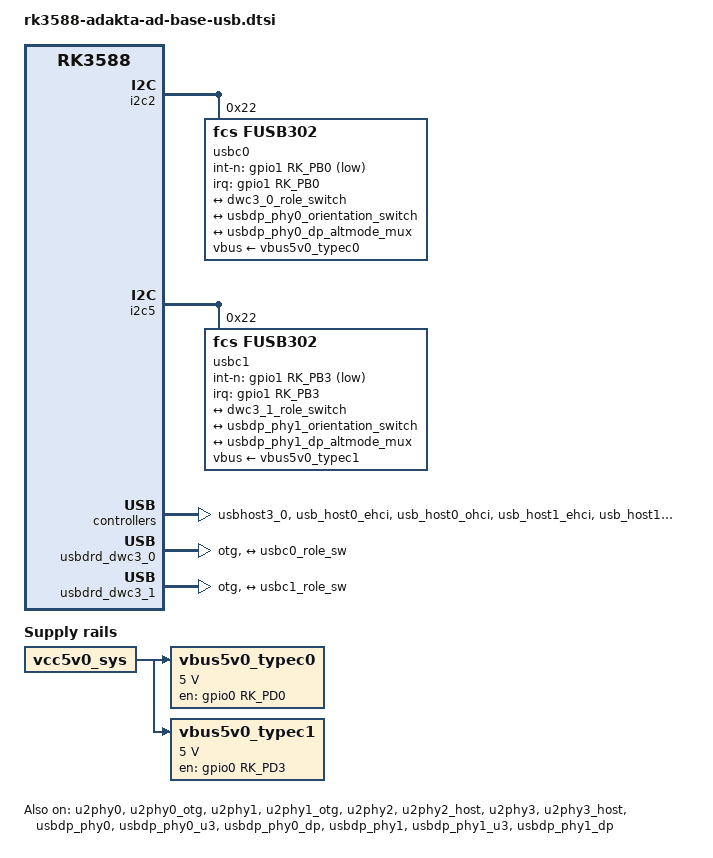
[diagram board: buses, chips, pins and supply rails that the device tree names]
// SPDX-License-Identifier: (GPL-2.0+ OR MIT)
/*
 * Copyright (c) 2024 Adakta, Ltd.
 *
 */

/ {
	vbus5v0_typec0: vbus5v0-typec0 {
		compatible = "regulator-fixed";
		regulator-name = "vbus5v0_typec0";
		regulator-min-microvolt = <5000000>;
		regulator-max-microvolt = <5000000>;
		enable-active-high;
		gpio = <&gpio0 RK_PD0 GPIO_ACTIVE_HIGH>;
		vin-supply = <&vcc5v0_sys>;
		pinctrl-names = "default";
		pinctrl-0 = <&typec0_pwr_en>;
	};

	vbus5v0_typec1: vbus5v0-typec1 {
		compatible = "regulator-fixed";
		regulator-name = "vbus5v0_typec1";
		regulator-min-microvolt = <5000000>;
		regulator-max-microvolt = <5000000>;
		enable-active-high;
		gpio = <&gpio0 RK_PD3 GPIO_ACTIVE_HIGH>;
		vin-supply = <&vcc5v0_sys>;
		pinctrl-names = "default";
		pinctrl-0 = <&typec1_pwr_en>;
	};
};

&pinctrl {
	usb-typec0 {
		usbc0_int: usbc0-int {
			rockchip,pins = <1 RK_PB0 RK_FUNC_GPIO &pcfg_pull_up>;
		};

		typec0_pwr_en: typec0-pwr-en {
			rockchip,pins = <0 RK_PD0 RK_FUNC_GPIO &pcfg_pull_none>;
		};

		typec0_sbu1: typec0-sbu1 {
			rockchip,pins = <4 RK_PA0 RK_FUNC_GPIO &pcfg_pull_none>;
		};

		typec0_sbu2: typec0-sbu2 {
			rockchip,pins = <4 RK_PB0 RK_FUNC_GPIO &pcfg_pull_none>;
		};
	};

	usb-typec1 {
		usbc1_int: usbc1-int {
			rockchip,pins = <1 RK_PB3 RK_FUNC_GPIO &pcfg_pull_up>;
		};

		typec1_pwr_en: typec1-pwr-en {
			rockchip,pins = <0 RK_PD3 RK_FUNC_GPIO &pcfg_pull_none>;
		};

		typec1_sbu1: typec1-sbu1 {
			rockchip,pins = <4 RK_PA1 RK_FUNC_GPIO &pcfg_pull_none>;
		};

		typec1_sbu2: typec1-sbu2 {
			rockchip,pins = <4 RK_PA2 RK_FUNC_GPIO &pcfg_pull_none>;
		};
	};
};

&i2c2 {
	usbc0: fusb302@22 {
		compatible = "fcs,fusb302";
		reg = <0x22>;
		interrupts-extended = <&gpio1 RK_PB0 GPIO_ACTIVE_LOW>;
		int-n-gpios = <&gpio1 RK_PB0 GPIO_ACTIVE_LOW>;
		pinctrl-names = "default";
		pinctrl-0 = <&usbc0_int>;
		vbus-supply = <&vbus5v0_typec0>;
		status = "okay";

		ports {
			#address-cells = <1>;
			#size-cells = <0>;

			port@0 {
				reg = <0>;
				usbc0_role_sw: endpoint@0 {
					remote-endpoint = <&dwc3_0_role_switch>;
				};
			};
		};

		connector {
			compatible = "usb-c-connector";
			label = "USB-C";
			data-role = "dual";
			faster-pd-negotiation;
			power-role = "sink";
			try-power-role = "sink";
			op-sink-microwatt = <1000000>;
			sink-pdos =
				<PDO_FIXED(5000, 3000, PDO_FIXED_USB_COMM)
				 PDO_VAR(5000, 20000, 5000)>;

			altmodes {
				#address-cells = <1>;
				#size-cells = <0>;

				altmode@0 {
					reg = <0>;
					svid = <0xff01>;
					vdo = <0xffffffff>;
				};
			};

			ports {
				#address-cells = <1>;
				#size-cells = <0>;

				port@0 {
					reg = <0>;
					usbc0_orien_sw: endpoint {
						remote-endpoint = <&usbdp_phy0_orientation_switch>;
					};
				};

				port@1 {
					reg = <1>;
					dp0_altmode_mux: endpoint {
						remote-endpoint = <&usbdp_phy0_dp_altmode_mux>;
					};
				};
			};
		};
	};
};

&i2c5 {
	usbc1: fusb302@22 {
		compatible = "fcs,fusb302";
		reg = <0x22>;
		interrupts-extended = <&gpio1 RK_PB3 GPIO_ACTIVE_LOW>;
		int-n-gpios = <&gpio1 RK_PB3 GPIO_ACTIVE_LOW>;
		pinctrl-names = "default";
		pinctrl-0 = <&usbc1_int>;
		vbus-supply = <&vbus5v0_typec1>;
		status = "okay";

		ports {
			#address-cells = <1>;
			#size-cells = <0>;

			port@0 {
				reg = <0>;
				usbc1_role_sw: endpoint@0 {
					remote-endpoint = <&dwc3_1_role_switch>;
				};
			};
		};

		connector {
			compatible = "usb-c-connector";
			label = "USB-C";
			data-role = "dual";
			faster-pd-negotiation;
			power-role = "sink";
			try-power-role = "sink";
			op-sink-microwatt = <1000000>;
			sink-pdos =
				<PDO_FIXED(5000, 3000, PDO_FIXED_USB_COMM)
				 PDO_VAR(5000, 20000, 5000)>;

			altmodes {
				#address-cells = <1>;
				#size-cells = <0>;

				altmode@0 {
					reg = <0>;
					svid = <0xff01>;
					vdo = <0xffffffff>;
				};
			};

			ports {
				#address-cells = <1>;
				#size-cells = <0>;

				port@0 {
					reg = <0>;
					usbc1_orien_sw: endpoint {
						remote-endpoint = <&usbdp_phy1_orientation_switch>;
					};
				};

				port@1 {
					reg = <1>;
					dp1_altmode_mux: endpoint {
						remote-endpoint = <&usbdp_phy1_dp_altmode_mux>;
					};
				};
			};
		};
	};
};

// DISABLE MUX2 - USB3 OTG2
&usbhost3_0 {
	status = "okay";
};

// DISABLE MUX2 - USB3 OTG2
&usbhost_dwc3_0 {
	status = "disabled";
};

&u2phy0 {
	status = "okay";
};

&u2phy0_otg {
	rockchip,typec-vbus-det;
	status = "okay";
};

&u2phy1 {
	status = "okay";
};

&u2phy1_otg {
	rockchip,typec-vbus-det;
	status = "okay";
};

&u2phy2 {
	status = "okay";
};

&u2phy2_host {
	status = "okay";
};

&u2phy3 {
	status = "okay";
};

&u2phy3_host {
	status = "okay";
};

&usb_host0_ehci {
	status = "okay";
};

&usb_host0_ohci {
	status = "okay";
};

&usb_host1_ehci {
	status = "okay";
};

&usb_host1_ohci {
	status = "okay";
};

&usbdrd3_0 {
	status = "okay";
};

&usbdrd_dwc3_0 {
	status = "okay";
	dr_mode = "otg";
	usb-role-switch;
	port {
		#address-cells = <1>;
		#size-cells = <0>;
		dwc3_0_role_switch: endpoint@0 {
			reg = <0>;
			remote-endpoint = <&usbc0_role_sw>;
		};
	};
};

&usbdp_phy0 {
	status = "okay";
	orientation-switch;
	rockchip,dp-lane-mux = <0 1 2 3 >;
	svid = <0xff01>;
	pinctrl-names = "default";
	pinctrl-0 = <&typec0_sbu1 &typec0_sbu2>;
	sbu1-dc-gpios = <&gpio4 RK_PA0 GPIO_ACTIVE_HIGH>;
	sbu2-dc-gpios = <&gpio4 RK_PB0 GPIO_ACTIVE_HIGH>;

	port {
		#address-cells = <1>;
		#size-cells = <0>;
		usbdp_phy0_orientation_switch: endpoint@0 {
			reg = <0>;
			remote-endpoint = <&usbc0_orien_sw>;
		};

		usbdp_phy0_dp_altmode_mux: endpoint@1 {
			reg = <1>;
			remote-endpoint = <&dp0_altmode_mux>;
		};
	};
};

&usbdp_phy0_u3 {
	status = "okay";
};

&usbdp_phy0_dp {
	status = "okay";
};

&usbdrd3_1 {
	status = "okay";
};

&usbdrd_dwc3_1 {
	status = "okay";
	dr_mode = "otg";
	usb-role-switch;
	port {
		#address-cells = <1>;
		#size-cells = <0>;
		dwc3_1_role_switch: endpoint@0 {
			reg = <0>;
			remote-endpoint = <&usbc1_role_sw>;
		};
	};
};

&usbdp_phy1 {
	status = "okay";
	orientation-switch;
	rockchip,dp-lane-mux = <0 1 2 3 >;
	svid = <0xff01>;
	pinctrl-names = "default";
	pinctrl-0 = <&typec1_sbu1 &typec1_sbu2>;
	sbu1-dc-gpios = <&gpio4 RK_PA1 GPIO_ACTIVE_HIGH>;
	sbu2-dc-gpios = <&gpio4 RK_PA2 GPIO_ACTIVE_HIGH>;

	port {
		#address-cells = <1>;
		#size-cells = <0>;
		usbdp_phy1_orientation_switch: endpoint@0 {
			reg = <0>;
			remote-endpoint = <&usbc1_orien_sw>;
		};

		usbdp_phy1_dp_altmode_mux: endpoint@1 {
			reg = <1>;
			remote-endpoint = <&dp1_altmode_mux>;
		};
	};
};

&usbdp_phy1_u3 {
	status = "okay";
};

&usbdp_phy1_dp {
	status = "okay";
};
